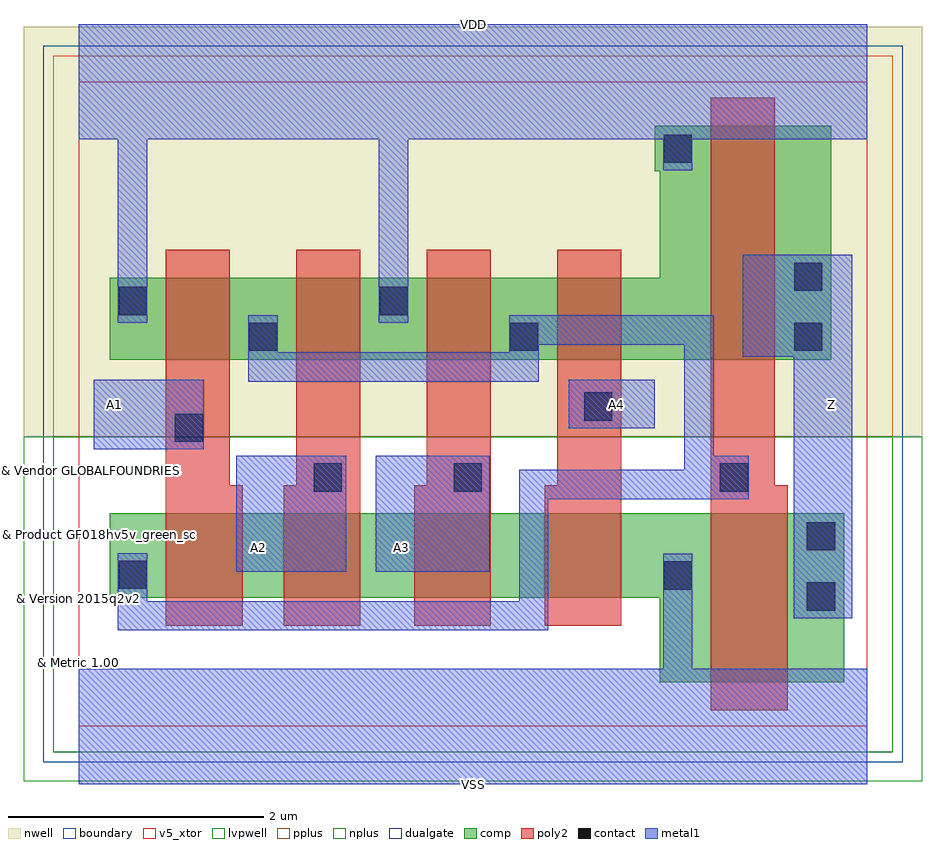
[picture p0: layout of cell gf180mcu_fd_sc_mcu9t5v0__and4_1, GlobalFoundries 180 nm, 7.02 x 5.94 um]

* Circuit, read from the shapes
.subckt gf180mcu_fd_sc_mcu9t5v0__and4_1 A1 A2 A3 A4 VDD VSS Z
XM1 n1 A1 n2 VSUBS nfet_05v0 w=0.66u l=0.6u
XM2 n3 A2 n1 VSUBS nfet_05v0 w=0.66u l=0.6u
XM3 n4 A3 n3 VSUBS nfet_05v0 w=0.66u l=0.6u
XM4 VSS A4 n4 VSUBS nfet_05v0 w=0.66u l=0.6u
XM5 Z n2 VSS VSUBS nfet_05v0 w=1.32u l=0.6u
XM6 n2 A1 VDD n5 pfet_05v0 w=0.64u l=0.5u
XM7 VDD A2 n2 n5 pfet_05v0 w=0.64u l=0.5u
XM8 n2 A3 VDD n5 pfet_05v0 w=0.64u l=0.5u
XM9 VDD A4 n2 n5 pfet_05v0 w=0.64u l=0.5u
XM10 Z n2 VDD n5 pfet_05v0 w=1.83u l=0.5u
.ends

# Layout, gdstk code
import gdstk
lib = gdstk.Library(unit=1e-6, precision=1e-09)
def R(c, l, rs):  # rectangles x0, y0, x1, y1
    for r in rs: c.add(gdstk.rectangle(r[:2], r[2:], *l))
def P(c, l, *ps):  # polygons
    for p in ps: c.add(gdstk.Polygon(p, *l))
boundary = (0, 0)
nwell = (21, 0)
comp = (22, 0)
poly2 = (30, 0)
pplus = (31, 0)
nplus = (32, 0)
contact = (33, 0)
metal1 = (34, 0)
dualgate = (55, 0)
v5_xtor = (112, 1)
lvpwell = (204, 0)

gf180mcu_fd_sc_mcu9t5v0_ = lib.new_cell('gf180mcu_fd_sc_mcu9t5v0__and4_1')
R(gf180mcu_fd_sc_mcu9t5v0_, boundary, [(0,0,6.16,5.04)])
R(gf180mcu_fd_sc_mcu9t5v0_, nwell, [(-0.43,2.265,6.59,5.47)])
P(gf180mcu_fd_sc_mcu9t5v0_, comp, [(0.24,2.865),(0.24,3.505),(4.54,3.505),(4.54,4.34),(4.5,4.34),(4.5,4.695),(5.88,4.695),(5.88,2.865)],
  [(4.54,0.345),(4.54,1.005),(0.24,1.005),(0.24,1.665),(5.98,1.665),(5.98,0.345)])
P(gf180mcu_fd_sc_mcu9t5v0_, poly2, [(0.68,0.785),(0.68,3.725),(1.18,3.725),(1.18,1.885),(1.28,1.885),(1.28,0.785)],
  [(1.6,0.785),(1.6,1.885),(1.7,1.885),(1.7,3.725),(2.2,3.725),(2.2,0.785)],
  [(2.62,0.785),(2.62,1.885),(2.72,1.885),(2.72,3.725),(3.22,3.725),(3.22,0.785)],
  [(3.64,0.785),(3.64,1.885),(3.74,1.885),(3.74,3.725),(4.24,3.725),(4.24,0.785)],
  [(4.94,0.125),(4.94,4.915),(5.44,4.915),(5.44,1.885),(5.54,1.885),(5.54,0.125)])
R(gf180mcu_fd_sc_mcu9t5v0_, pplus, [(-0.2,2.265,6.36,5.24)])
R(gf180mcu_fd_sc_mcu9t5v0_, nplus, [(-0.2,-0.2,6.36,2.265)])
R(gf180mcu_fd_sc_mcu9t5v0_, contact, [(5.69,0.905,5.91,1.125), (4.57,1.07,4.79,1.29), (0.31,1.075,0.53,1.295), (5.69,1.375,5.91,1.595), (1.835,1.835,2.055,2.055), (2.93,1.835,3.15,2.055), (5.01,1.835,5.23,2.055), (0.75,2.225,0.97,2.445), (3.95,2.39,4.17,2.61), (1.33,2.935,1.55,3.155), (3.37,2.935,3.59,3.155), (5.59,2.935,5.81,3.155), (0.31,3.215,0.53,3.435), (2.35,3.215,2.57,3.435), (5.59,3.405,5.81,3.625), (4.57,4.405,4.79,4.625)])
R(gf180mcu_fd_sc_mcu9t5v0_, metal1, [(1.23,1.21,2.09,2.115), (2.32,1.21,3.21,2.115), (0.115,2.165,0.975,2.71), (3.83,2.33,4.5,2.71)])
P(gf180mcu_fd_sc_mcu9t5v0_, metal1, [(0.305,0.75),(0.305,1.355),(0.535,1.355),(0.535,0.98),(3.44,0.98),(3.44,2.005),(4.73,2.005),(4.73,2.985),(3.595,2.985),(3.595,2.695),(1.325,2.695),(1.325,3.215),(1.555,3.215),(1.555,2.925),(3.365,2.925),(3.365,3.215),(4.96,3.215),(4.96,2.115),(5.235,2.115),(5.235,1.775),(3.67,1.775),(3.67,0.75)],
  [(5.585,0.845),(5.585,2.89),(5.19,2.89),(5.19,3.685),(6.045,3.685),(6.045,0.845)],
  [(0,-0.45),(0,0.45),(4.565,0.45),(4.565,1.35),(4.795,1.35),(4.795,0.45),(6.16,0.45),(6.16,-0.45)],
  [(0.305,3.155),(0.305,4.59),(0,4.59),(0,5.49),(6.16,5.49),(6.16,4.59),(4.795,4.59),(4.795,4.345),(4.565,4.345),(4.565,4.59),(2.575,4.59),(2.575,3.155),(2.345,3.155),(2.345,4.59),(0.535,4.59),(0.535,3.155)])
R(gf180mcu_fd_sc_mcu9t5v0_, dualgate, [(-0.28,-0.28,6.44,5.32)])
R(gf180mcu_fd_sc_mcu9t5v0_, v5_xtor, [(0,0,6.16,5.04)])
R(gf180mcu_fd_sc_mcu9t5v0_, lvpwell, [(-0.43,-0.43,6.59,2.265)])
gf180mcu_fd_sc_mcu9t5v0_.add(gdstk.Label('A1', (0.28,2.52), layer=34, texttype=10))
gf180mcu_fd_sc_mcu9t5v0_.add(gdstk.Label('A2', (1.4,1.4), layer=34, texttype=10))
gf180mcu_fd_sc_mcu9t5v0_.add(gdstk.Label('A3', (2.52,1.4), layer=34, texttype=10))
gf180mcu_fd_sc_mcu9t5v0_.add(gdstk.Label('A4', (4.2,2.52), layer=34, texttype=10))
gf180mcu_fd_sc_mcu9t5v0_.add(gdstk.Label('VDD', (3.08,5.49), layer=34, texttype=10))
gf180mcu_fd_sc_mcu9t5v0_.add(gdstk.Label('VSS', (3.08,-0.45), layer=34, texttype=10))
gf180mcu_fd_sc_mcu9t5v0_.add(gdstk.Label('Z', (5.88,2.52), layer=34, texttype=10))
gf180mcu_fd_sc_mcu9t5v0_.add(gdstk.Label('& Vendor GLOBALFOUNDRIES', (0,2), layer=63, texttype=63))
gf180mcu_fd_sc_mcu9t5v0_.add(gdstk.Label('& Product GF018hv5v_green_sc9', (0,1.5), layer=63, texttype=63))
gf180mcu_fd_sc_mcu9t5v0_.add(gdstk.Label('& Version 2015q2v2', (0,1), layer=63, texttype=63))
gf180mcu_fd_sc_mcu9t5v0_.add(gdstk.Label('& Metric 1.00', (0,0.5), layer=63, texttype=63))

lib.write_gds('gf180mcu_fd_sc_mcu9t5v0__and4_1.gds')
